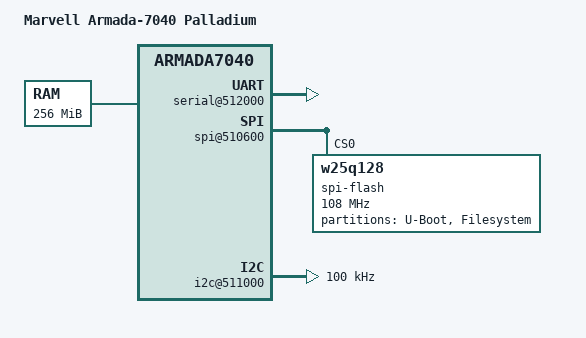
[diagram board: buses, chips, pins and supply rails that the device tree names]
/****************************************************************************
* This program is free software: you can redistribute it and/or modify it
* under the terms of the GNU General Public License as published by the Free
* Software Foundation, either version 2 of the License, or any later version.
*
* This program is distributed in the hope that it will be useful,
* but WITHOUT ANY WARRANTY; without even the implied warranty of
* MERCHANTABILITY or FITNESS FOR A PARTICULAR PURPOSE.  See the
* GNU General Public License for more details.
*
* You should have received a copy of the GNU General Public License
* along with this program.  If not, see <http://www.gnu.org/licenses/>.
* ***************************************************************************
*/

/*
 * Device Tree file for Marvell Armada 7040 Emulation platform
 */

#include "armada-7040-rz.dtsi"

/ {
	model = "Marvell Armada-7040 Palladium";
	compatible = "marvell,armada7040-pd";
	#address-cells = <2>;
	#size-cells = <2>;

	/* This usually gets edited by the bootloader so the value
	 * Doesn't bare much meaning
	 */
	memory@00000000 {
		device_type = "memory";
		reg = <0x0 0x0 0x0 0x10000000>;
	};

	chosen { };

	/* Override UART frequency for palladium env */
	ap806 {
		config-space {
			serial@512000 {
				clock-frequency = <384000>;
				clocks = <>;
				status = "okay";
			};

			spi@510600 {
				status = "okay";

				spi-flash@0 {
					#address-cells = <1>;
					#size-cells = <1>;
					compatible = "w25q128";
					reg = <0>; /* Chip select 0 */
					spi-max-frequency = <108000000>;

					partition@0 {
						label = "U-Boot";
						reg = <0 0x400000>;
					};
					partition@400000 {
						label = "Filesystem";
						reg = <0x400000 0xc00000>;
					};
				};
			};

			i2c@511000 {
				status = "okay";
				clock-frequency = <100000>;
			};

		};
	};
};
